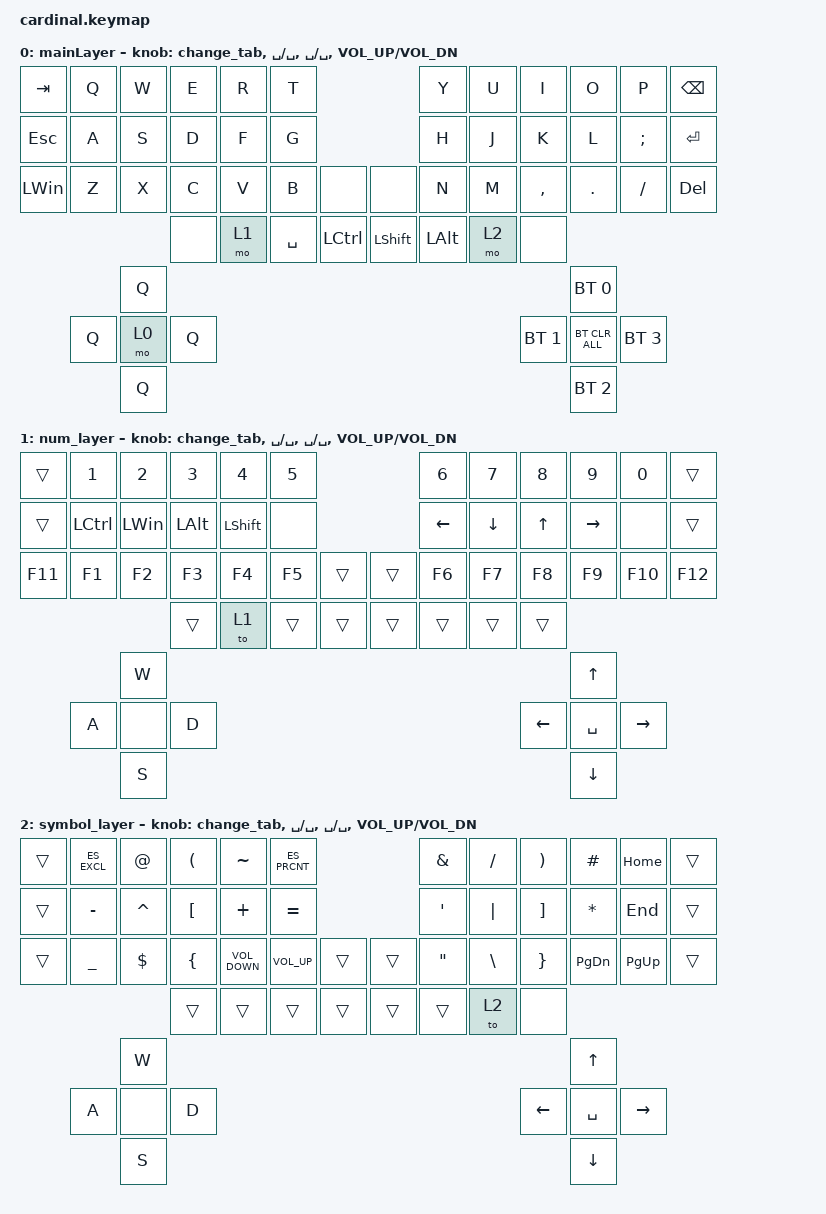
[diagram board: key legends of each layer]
//Personal keymap, subject to weird things, heavy use of helpers intended, and sticky keys, and use with spanish layout, 
// im sorry but having in the same key (,;) and (.:) its way better than (,<) and (.>), other things may not make sense

#include "keys_es.h"

//Support for key helpers, hillside fits perfectly because of the 42 base keys plus the encoders,
// LH4, RH4, LH3 and RH3 are the encoders clickdown

#include "zmk-helpers/helper.h"
#include "zmk-helpers/key-labels/hillside46.h"
#include <behaviors.dtsi>
#include <dt-bindings/zmk/bt.h>
#include <dt-bindings/zmk/keys.h>

// ╭─────────────────────────╮       ╭─────────────────────────╮
// │ LT5 LT4 LT3 LT2 LT1 LT0 │       │ RT0 RT1 RT2 RT3 RT4 RT5 │
// │ LM5 LM4 LM3 LM2 LM1 LM0 ╰──╮ ╭──╯ RM0 RM1 RM2 RM3 RM4 RM5 │
// │ LB5 LB4 LB3 LB2 LB1 LB0 LH4╰┬╯RH4 RB0 RB1 RB2 RB3 RB4 RB5 │
// ╰───────────╮ LH3 LH2 LH1 LH0 │ RH0 RH1 RH2 RH3 ╭───────────╯
//             ╰─────────────────┴─────────────────╯
// Also defining helpers for the 5-way switches, just in case I need then(probably not)

#define LU  46
#define LD  54
#define LL  48
#define LR  50
#define LCenter  49
#define RU  47
#define RD  55
#define RL  51
#define RR  53
#define RCenter  52

// Interesting feature, usefull for cases with hard to reach on/off switches

&soft_off {
    hold-time-ms = <5000>; // Only turn off it the key is held for 5 seconds or longer.
};

/ {
    combos {
        compatible = "zmk,combos";

        ctrlayer {
            timeout-ms = <70>;
            key-positions = <LH2 RH2>;
            bindings = <&sl 0>;
        };

        funlayerR {
            timeout-ms = <70>;
            key-positions = <RH2 RH1>;
            bindings = <&sl 0>;
        };

        funlayerL {
            timeout-ms = <70>;
            key-positions = <LH2 LH1>;
            bindings = <&sl 0>;
        };
    };

    behaviors {
        change_tab: change_tab {
            compatible = "zmk,behavior-sensor-rotate";
            #sensor-binding-cells = <0>;
            bindings = <&kp LC(LS(TAB))>, <&kp LC(TAB)>;
        };

        shcps: shcps {
            compatible = "zmk,behavior-hold-tap";
            bindings = <&kp>, <&sk>;

            #binding-cells = <2>;
            flavor = "tap-preferred";
            tapping-term-ms = <200>;
            quick-tap-ms = <125>;
        };

        es_til_sqt: es_tilde_squote {
            //Custom tap dance, in spanish tilde (á) is common, not so much squote(I'm) so this convines both keys with similar usages, 
            //also integrates ? into the mix(shifted squote) which is pretty nice imho 

            compatible = "zmk,behavior-tap-dance";
            #binding-cells = <0>;
            tapping-term-ms = <180>;
            bindings = <&kp ES_ACUTE>, <&kp ES_SQT>;
        };

        smart_shift: smart_shift {
            compatible = "zmk,behavior-tap-dance";
            #binding-cells = <0>;
            tapping-term-ms = <180>;
            bindings = <&sk LSHFT>, <&caps_word>;
        };
    };

    keymap {
        compatible = "zmk,keymap";

        mainLayer {
            // --------------------------------------------------------------------------------------------------------------------------------------------------------------------
            // Default layer, pretty standar
            //   |   ESC   |    Q    |    W    |    E    |    R    |    T    |                       |    Y    |    U    |    I    |    O    |    P    |  BSPC  |
            //   |   TAB   |    A    |    S    |    D    |    F    |    G    |                       |    H    |    J    |    K    |    L    |    ;    |    '   |
            //   |  RALT   |    Z    |    X    |    C    |    V    |    B    |  none   |   | Play/P  |    N    |    M    |    ,    |    .    |    -    |  ENTER |
            //                                 |  WinTab | NumLayer|  BSPC   |  LCRTL  |   |  SHIFT  |  SPACE  |   SymLayer |   none  |
            // (5 way)     

            bindings = <
&kp TAB       &kp Q  &kp W  &kp E  &kp R  &kp T                                        &kp Y         &kp U  &kp I         &kp O           &kp P         &kp BACKSPACE
&kp ESC       &kp A  &kp S  &kp D  &kp F  &kp G                                        &kp H         &kp J  &kp K         &kp L           &kp SEMI      &kp ENTER
&kp LEFT_WIN  &kp Z  &kp X  &kp C  &kp V  &kp B      &none             &none           &kp N         &kp M  &kp COMMA     &kp DOT         &kp FSLH      &kp DEL
                            &none  &mo 1  &kp SPACE  &kp LEFT_CONTROL  &kp LEFT_SHIFT  &kp LEFT_ALT  &mo 2  &none
                     &kp Q                                                                                                &bt BT_SEL 0
              &kp Q  &mo 0  &kp Q                                                                           &bt BT_SEL 1  &bt BT_CLR_ALL  &bt BT_SEL 3
                     &kp Q                                                                                                &bt BT_SEL 2
            >;

            sensor-bindings = <
                        &change_tab 
                        &inc_dec_kp SPACE SPACE 
                        &inc_dec_kp SPACE SPACE 
                        &inc_dec_kp C_VOL_UP C_VOL_DN
            >;
        };

        num_layer {
            // --------------------------------------------------------------------------------------------------------------------------------------------------------------------
            // Num layer, pretty sparce
            //   |   ESC   |    1    |    2    |    3    |    4    |    5    |                       |    6    |    7    |    8    |    9    |    0    |  BSPC   |
            //   |   TAB   |         |         |         |         |         |                       |         |         |         |         |         |    `    |
            //   |  RALT   |         |         |         |         |         |  none   |   | Play/P  |         |         |         |    ·    |         |  Enter  |
            //                                 |  WinTab | NumLayer|  BSPC   |  LCRTL  |   |  SHIFT  |  SPACE  |   SymLayer |   none  |
            // (5 way)     

            bindings = <
&trans   &kp N1            &kp N2        &kp N3        &kp N4          &kp N5                  &kp N6          &kp N7    &kp N8    &kp N9     &kp N0     &trans
&trans   &kp LEFT_CONTROL  &kp LEFT_WIN  &kp LEFT_ALT  &kp LEFT_SHIFT  &none                   &kp LEFT_ARROW  &kp DOWN  &kp UP    &kp RIGHT  &none      &trans
&kp F11  &kp F1            &kp F2        &kp F3        &kp F4          &kp F5  &trans  &trans  &kp F6          &kp F7    &kp F8    &kp F9     &kp F10    &kp F12
                                         &trans        &to 1           &trans  &trans  &trans  &trans          &trans    &trans
                           &kp W                                                                                                   &kp UP
         &kp A             &none         &kp D                                                                           &kp LEFT  &kp SPACE  &kp RIGHT
                           &kp S                                                                                                   &kp DOWN
            >;

            sensor-bindings = <
                        &change_tab 
                        &inc_dec_kp SPACE SPACE 
                        &inc_dec_kp SPACE SPACE 
                        &inc_dec_kp C_VOL_UP C_VOL_DN
            >;
        };

        symbol_layer {
            // --------------------------------------------------------------------------------------------------------------------------------------------------------------------
            // Symbol layer, trying to maintain shft+number positions of spanish layout, and adding the rest in more or less nice position
            //   |   ESC   |    !    |    @    |    #    |    ~    |    %    |                       |    &    |    /    |    (    |    )    |    ?    |   BSPC   |
            //   |   TAB   |    ¡    |    +    |    *    |    ^    |    =    |                       |    ¬    |    |    |    [    |    ]    |    ¿    |    "     |
            //   |  RALT   |    <    |    >    |    º    |    ª    |    ç    |  none   |   | Play/P  |    "    |    \    |    {    |    }    |         |  ENTER   |
            //                                 |  WinTab | NumLayer|  BSPC   |  LCRTL  |   |  SHIFT  |  SPACE  | SymLayer |   none  |
            // (5 way)     

            bindings = <
&trans  &kp ES_EXCL     &kp AT      &kp LPAR  &kp TILDE          &kp ES_PRCNT                     &kp AMPS  &kp FSLH       &kp RPAR           &kp HASH       &kp HOME     &trans
&trans  &kp MINUS       &kp CARET   &kp LBKT  &kp PLUS           &kp EQUAL                        &kp APOS  &kp PIPE       &kp RIGHT_BRACKET  &kp ASTRK      &kp END      &trans
&trans  &kp UNDERSCORE  &kp DOLLAR  &kp LBRC  &kp C_VOLUME_DOWN  &kp C_VOLUME_UP  &trans  &trans  &kp DQT   &kp BACKSLASH  &kp RBRC           &kp PAGE_DOWN  &kp PAGE_UP  &trans
                                    &trans    &trans             &trans           &trans  &trans  &trans    &to 2          &none
                        &kp W                                                                                                                 &kp UP
        &kp A           &none       &kp D                                                                                  &kp LEFT           &kp SPACE      &kp RIGHT
                        &kp S                                                                                                                 &kp DOWN
            >;

            sensor-bindings = <
                        &change_tab 
                        &inc_dec_kp SPACE SPACE 
                        &inc_dec_kp SPACE SPACE 
                        &inc_dec_kp C_VOL_UP C_VOL_DN
            >;
        };
    };
};
